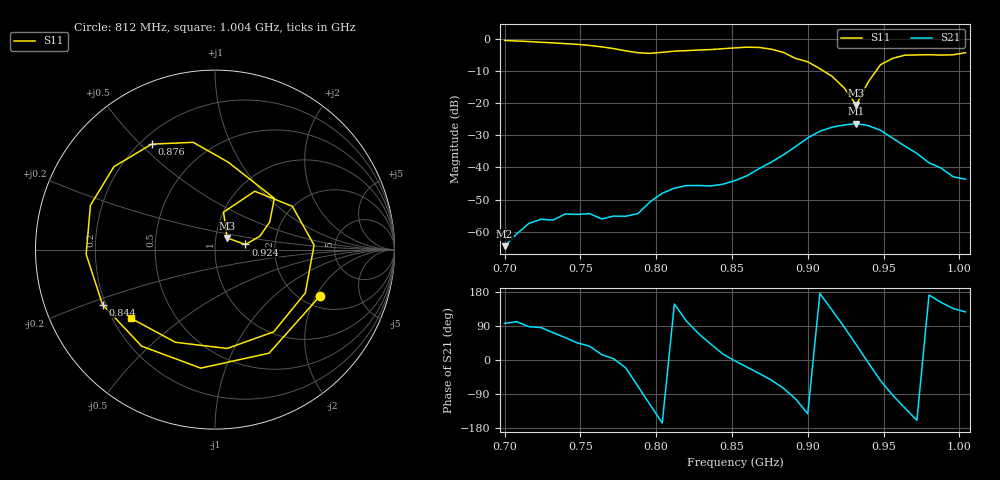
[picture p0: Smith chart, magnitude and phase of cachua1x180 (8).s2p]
# Hz S RI R 50
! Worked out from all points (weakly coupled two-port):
!   39 points, 700 MHz to 1.004 GHz, reference 50 ohm
!   highest |S21| = -26.40 dB at 932 MHz (marker M1); lowest = -64.5 dB at 700 MHz (marker M2)
!   lowest |S11| = -20.6 dB at 932 MHz (marker M3), VSWR 1.21, Z = 56.7 + j7.46 ohm
!   |S11| at or under -10 dB: 910.3 MHz to 945.1 MHz (34.85 MHz wide, 3.76 % of centre)
!   S12 and S22 are empty: the file has one direction only
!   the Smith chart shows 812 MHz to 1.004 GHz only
!   S11 on the Smith chart (normalised r, x): 812 MHz: 2.44, -2.16; 844 MHz: 0.19, -0.22; 876 MHz: 0.24, +0.54; 924 MHz: 1.40, +0.08; 1.004 GHz: 0.28, -0.33
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7e8  0.7572 0.5513  -6.91e-05 0.000595  0 0  0 0
7.24e8  0.8411 -0.2499  0.000119 0.00156  0 0  0 0
7.4e8  0.4579 -0.6998  0.000973 0.00162  0 0  0 0
7.56e8  -0.1905 -0.7606  0.00154 0.00114  0 0  0 0
7.72e8  -0.669 -0.2082  0.00175 9.52e-05  0 0  0 0
7.8e8  -0.6068 0.2198  0.00163 -0.000632  0 0  0 0
7.88e8  -0.2698 0.5412  0.000669 -0.0018  0 0  0 0
7.96e8  0.2261 0.5449  -0.00139 -0.00258  0 0  0 0
8.04e8  0.5774 0.206  -0.00386 -0.000946  0 0  0 0
8.12e8  0.5827 -0.2612  -0.00403 0.00256  0 0  0 0
8.28e8  -0.0792 -0.6604  0.00183 0.00491  0 0  0 0
8.44e8  -0.6266 -0.3064  0.00527 0.0015  0 0  0 0
8.52e8  -0.7179 -0.0259  0.00624 -0.000268  0 0  0 0
8.76e8  -0.3531 0.5874  0.00728 -0.00967  0 0  0 0
9e8  0.3309 0.2855  -0.0226 -0.0177  0 0  0 0
9.08e8  0.3049 0.154  -0.0363 0.00284  0 0  0 0
9.24e8  0.1693 0.0285  0.00204 0.0456  0 0  0 0
9.32e8  0.0672 0.0652  0.0366 0.0309  0 0  0 0
9.56e8  0.4311 0.2411  -0.00139 -0.0285  0 0  0 0
9.64e8  0.552 0.0251  -0.0127 -0.0173  0 0  0 0
9.8e8  0.3268 -0.4583  -0.0117 0.00176  0 0  0 0
1.004e9  -0.4656 -0.3838  -0.00396 0.00526  0 0  0 0
